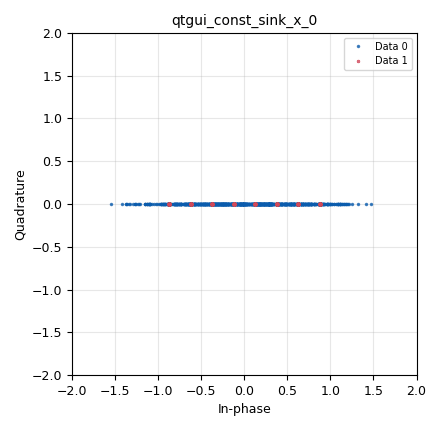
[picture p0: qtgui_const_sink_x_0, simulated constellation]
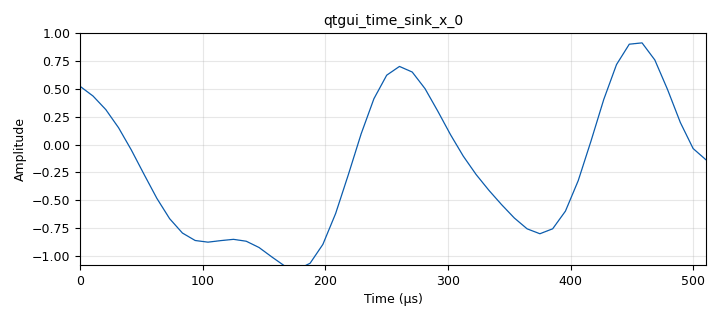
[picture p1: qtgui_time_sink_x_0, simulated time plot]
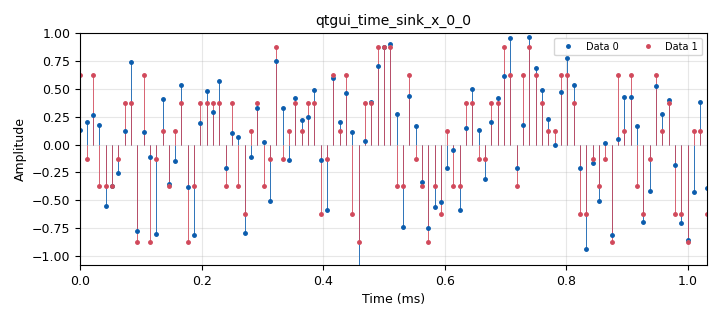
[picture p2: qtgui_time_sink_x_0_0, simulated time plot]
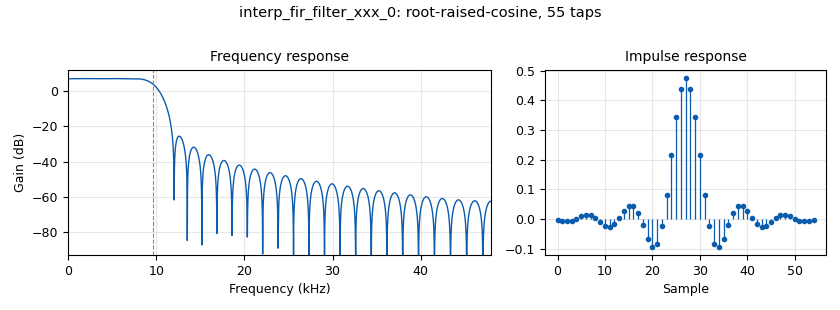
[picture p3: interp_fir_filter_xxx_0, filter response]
<?xml version='1.0' encoding='utf-8'?>
<?grc format='1' created='3.7.13'?>
<flow_graph>
<block>
<key>options</key>
<param><key>id</key><value>top_block</value></param>
<param><key>generate_options</key><value>qt_gui</value></param>
</block>
<block>
<key>variable</key>
<param><key>id</key><value>OBW</value></param>
<param><key>value</key><value>samp_rate/sps*(1+exbw)/2</value></param>
</block>
<block>
<key>variable</key>
<param><key>id</key><value>TOTAL_BITRATE</value></param>
<param><key>value</key><value>samp_rate/sps*(bits_per_sym*2)</value></param>
</block>
<block>
<key>variable</key>
<param><key>id</key><value>bits_per_sym</value></param>
<param><key>value</key><value>3</value></param>
</block>
<block>
<key>variable</key>
<param><key>id</key><value>exbw</value></param>
<param><key>value</key><value>.2</value></param>
</block>
<block>
<key>variable_qtgui_range</key>
<param><key>id</key><value>gui_delay</value></param>
<param><key>value</key><value>11</value></param>
<param><key>label</key><value>Delay</value></param>
<param><key>orient</key><value>Qt.Horizontal</value></param>
<param><key>start</key><value>0</value></param>
<param><key>step</key><value>1</value></param>
<param><key>stop</key><value>200</value></param>
<param><key>rangeType</key><value>int</value></param>
</block>
<block>
<key>variable_qtgui_range</key>
<param><key>id</key><value>gui_delay2</value></param>
<param><key>value</key><value>7</value></param>
<param><key>label</key><value>Delay</value></param>
<param><key>orient</key><value>Qt.Horizontal</value></param>
<param><key>start</key><value>-8</value></param>
<param><key>step</key><value>1</value></param>
<param><key>stop</key><value>8</value></param>
<param><key>rangeType</key><value>int</value></param>
</block>
<block>
<key>variable_qtgui_range</key>
<param><key>id</key><value>gui_noise_db</value></param>
<param><key>value</key><value>-30</value></param>
<param><key>label</key><value>Noise</value></param>
<param><key>orient</key><value>Qt.Horizontal</value></param>
<param><key>start</key><value>-80</value></param>
<param><key>step</key><value>1</value></param>
<param><key>stop</key><value>0</value></param>
</block>
<block>
<key>variable_rrc_filter_taps</key>
<param><key>id</key><value>rrc_taps</value></param>
<param><key>alpha</key><value>exbw</value></param>
<param><key>gain</key><value>np.sqrt(sps)</value></param>
<param><key>ntaps</key><value>11*sps</value></param>
<param><key>samp_rate</key><value>samp_rate</value></param>
<param><key>sym_rate</key><value>samp_rate/sps</value></param>
</block>
<block>
<key>variable</key>
<param><key>id</key><value>samp_rate</value></param>
<param><key>value</key><value>96000</value></param>
</block>
<block>
<key>variable</key>
<param><key>id</key><value>sps</value></param>
<param><key>value</key><value>5</value></param>
</block>
<block>
<key>analog_fastnoise_source_x</key>
<param><key>id</key><value>analog_fastnoise_source_x_0</value></param>
<param><key>amp</key><value>10**(gui_noise_db*.05)</value></param>
<param><key>noise_type</key><value>analog.GR_GAUSSIAN</value></param>
<param><key>type</key><value>float</value></param>
<param><key>seed</key><value>0</value></param>
<param><key>samples</key><value>8192</value></param>
</block>
<block>
<key>analog_random_source_x</key>
<param><key>id</key><value>analog_random_source_x_0</value></param>
<param><key>max</key><value>2**bits_per_sym</value></param>
<param><key>min</key><value>0</value></param>
<param><key>num_samps</key><value>100000</value></param>
<param><key>type</key><value>int</value></param>
<param><key>repeat</key><value>True</value></param>
</block>
<block>
<key>blocks_add_const_vxx</key>
<param><key>id</key><value>blocks_add_const_vxx_0</value></param>
<param><key>const</key><value>-(2**bits_per_sym-1)*.5</value></param>
<param><key>type</key><value>float</value></param>
</block>
<block>
<key>blocks_add_xx</key>
<param><key>id</key><value>blocks_add_xx_0</value></param>
<param><key>type</key><value>float</value></param>
</block>
<block>
<key>blocks_delay</key>
<param><key>id</key><value>blocks_delay_0</value></param>
<param><key>delay</key><value>gui_delay</value></param>
<param><key>type</key><value>float</value></param>
</block>
<block>
<key>blocks_delay</key>
<param><key>id</key><value>blocks_delay_0_0</value></param>
<param><key>delay</key><value>gui_delay2</value></param>
<param><key>type</key><value>float</value></param>
</block>
<block>
<key>blocks_float_to_complex</key>
<param><key>id</key><value>blocks_float_to_complex_0</value></param>
</block>
<block>
<key>blocks_float_to_complex</key>
<param><key>id</key><value>blocks_float_to_complex_0_0</value></param>
</block>
<block>
<key>blocks_int_to_float</key>
<param><key>id</key><value>blocks_int_to_float_0</value></param>
<param><key>scale</key><value>1</value></param>
</block>
<block>
<key>blocks_keep_one_in_n</key>
<param><key>id</key><value>blocks_keep_one_in_n_0</value></param>
<param><key>n</key><value>sps</value></param>
<param><key>type</key><value>float</value></param>
</block>
<block>
<key>blocks_multiply_const_vxx</key>
<param><key>id</key><value>blocks_multiply_const_vxx_0</value></param>
<param><key>const</key><value>2**(-bits_per_sym+1)</value></param>
<param><key>type</key><value>float</value></param>
</block>
<block>
<key>blocks_throttle</key>
<param><key>id</key><value>blocks_throttle_0</value></param>
<param><key>samples_per_second</key><value>samp_rate</value></param>
<param><key>type</key><value>float</value></param>
</block>
<block>
<key>blocks_vector_source_x</key>
<param><key>id</key><value>blocks_vector_source_x_0</value></param>
<param><key>_enabled</key><value>0</value></param>
<param><key>type</key><value>float</value></param>
<param><key>repeat</key><value>True</value></param>
<param><key>vector</key><value>range(0,2**bits_per_sym)+ [1.5]*150</value></param>
</block>
<block>
<key>import</key>
<param><key>id</key><value>import_0</value></param>
<param><key>import</key><value>import numpy as np</value></param>
</block>
<block>
<key>interp_fir_filter_xxx</key>
<param><key>id</key><value>interp_fir_filter_xxx_0</value></param>
<param><key>interp</key><value>sps</value></param>
<param><key>taps</key><value>rrc_taps</value></param>
<param><key>type</key><value>fff</value></param>
</block>
<block>
<key>interp_fir_filter_xxx</key>
<param><key>id</key><value>interp_fir_filter_xxx_0_0</value></param>
<param><key>interp</key><value>1</value></param>
<param><key>taps</key><value>rrc_taps</value></param>
<param><key>type</key><value>fff</value></param>
</block>
<block>
<key>qtgui_const_sink_x</key>
<param><key>id</key><value>qtgui_const_sink_x_0</value></param>
<param><key>nconnections</key><value>2</value></param>
<param><key>size</key><value>1024</value></param>
<param><key>type</key><value>complex</value></param>
</block>
<block>
<key>qtgui_freq_sink_x</key>
<param><key>id</key><value>qtgui_freq_sink_x_0</value></param>
<param><key>average</key><value>0.1</value></param>
<param><key>bw</key><value>samp_rate</value></param>
<param><key>fc</key><value>0</value></param>
<param><key>_enabled</key><value>0</value></param>
<param><key>fftsize</key><value>4096</value></param>
<param><key>showports</key><value>True</value></param>
<param><key>type</key><value>float</value></param>
<param><key>wintype</key><value>firdes.WIN_BLACKMAN_hARRIS</value></param>
</block>
<block>
<key>qtgui_time_sink_x</key>
<param><key>id</key><value>qtgui_time_sink_x_0</value></param>
<param><key>color1</key><value>"blue"</value></param>
<param><key>label1</key><value></value></param>
<param><key>size</key><value>10*sps</value></param>
<param><key>srate</key><value>samp_rate</value></param>
<param><key>type</key><value>float</value></param>
</block>
<block>
<key>qtgui_time_sink_x</key>
<param><key>id</key><value>qtgui_time_sink_x_0_0</value></param>
<param><key>color1</key><value>"blue"</value></param>
<param><key>label1</key><value></value></param>
<param><key>marker1</key><value>0</value></param>
<param><key>color2</key><value>"red"</value></param>
<param><key>label2</key><value></value></param>
<param><key>marker2</key><value>0</value></param>
<param><key>nconnections</key><value>2</value></param>
<param><key>size</key><value>20*sps</value></param>
<param><key>srate</key><value>samp_rate</value></param>
<param><key>stemplot</key><value>True</value></param>
<param><key>type</key><value>float</value></param>
<param><key>update_time</key><value>1</value></param>
</block>
<connection><source_block_id>analog_fastnoise_source_x_0</source_block_id><sink_block_id>blocks_add_xx_0</sink_block_id><source_key>0</source_key><sink_key>0</sink_key></connection>
<connection><source_block_id>analog_random_source_x_0</source_block_id><sink_block_id>blocks_int_to_float_0</sink_block_id><source_key>0</source_key><sink_key>0</sink_key></connection>
<connection><source_block_id>blocks_add_const_vxx_0</source_block_id><sink_block_id>blocks_multiply_const_vxx_0</sink_block_id><source_key>0</source_key><sink_key>0</sink_key></connection>
<connection><source_block_id>blocks_add_xx_0</source_block_id><sink_block_id>interp_fir_filter_xxx_0_0</sink_block_id><source_key>0</source_key><sink_key>0</sink_key></connection>
<connection><source_block_id>blocks_delay_0</source_block_id><sink_block_id>blocks_float_to_complex_0_0</sink_block_id><source_key>0</source_key><sink_key>0</sink_key></connection>
<connection><source_block_id>blocks_delay_0</source_block_id><sink_block_id>qtgui_time_sink_x_0_0</sink_block_id><source_key>0</source_key><sink_key>1</sink_key></connection>
<connection><source_block_id>blocks_delay_0_0</source_block_id><sink_block_id>blocks_keep_one_in_n_0</sink_block_id><source_key>0</source_key><sink_key>0</sink_key></connection>
<connection><source_block_id>blocks_float_to_complex_0</source_block_id><sink_block_id>qtgui_const_sink_x_0</sink_block_id><source_key>0</source_key><sink_key>0</sink_key></connection>
<connection><source_block_id>blocks_float_to_complex_0_0</source_block_id><sink_block_id>qtgui_const_sink_x_0</sink_block_id><source_key>0</source_key><sink_key>1</sink_key></connection>
<connection><source_block_id>blocks_int_to_float_0</source_block_id><sink_block_id>blocks_throttle_0</sink_block_id><source_key>0</source_key><sink_key>0</sink_key></connection>
<connection><source_block_id>blocks_keep_one_in_n_0</source_block_id><sink_block_id>blocks_float_to_complex_0</sink_block_id><source_key>0</source_key><sink_key>0</sink_key></connection>
<connection><source_block_id>blocks_keep_one_in_n_0</source_block_id><sink_block_id>qtgui_time_sink_x_0_0</sink_block_id><source_key>0</source_key><sink_key>0</sink_key></connection>
<connection><source_block_id>blocks_multiply_const_vxx_0</source_block_id><sink_block_id>blocks_delay_0</sink_block_id><source_key>0</source_key><sink_key>0</sink_key></connection>
<connection><source_block_id>blocks_multiply_const_vxx_0</source_block_id><sink_block_id>interp_fir_filter_xxx_0</sink_block_id><source_key>0</source_key><sink_key>0</sink_key></connection>
<connection><source_block_id>blocks_throttle_0</source_block_id><sink_block_id>blocks_add_const_vxx_0</sink_block_id><source_key>0</source_key><sink_key>0</sink_key></connection>
<connection><source_block_id>blocks_vector_source_x_0</source_block_id><sink_block_id>blocks_throttle_0</sink_block_id><source_key>0</source_key><sink_key>0</sink_key></connection>
<connection><source_block_id>interp_fir_filter_xxx_0</source_block_id><sink_block_id>blocks_add_xx_0</sink_block_id><source_key>0</source_key><sink_key>1</sink_key></connection>
<connection><source_block_id>interp_fir_filter_xxx_0_0</source_block_id><sink_block_id>blocks_delay_0_0</sink_block_id><source_key>0</source_key><sink_key>0</sink_key></connection>
<connection><source_block_id>interp_fir_filter_xxx_0_0</source_block_id><sink_block_id>qtgui_freq_sink_x_0</sink_block_id><source_key>0</source_key><sink_key>0</sink_key></connection>
<connection><source_block_id>interp_fir_filter_xxx_0_0</source_block_id><sink_block_id>qtgui_time_sink_x_0</sink_block_id><source_key>0</source_key><sink_key>0</sink_key></connection>
</flow_graph>
